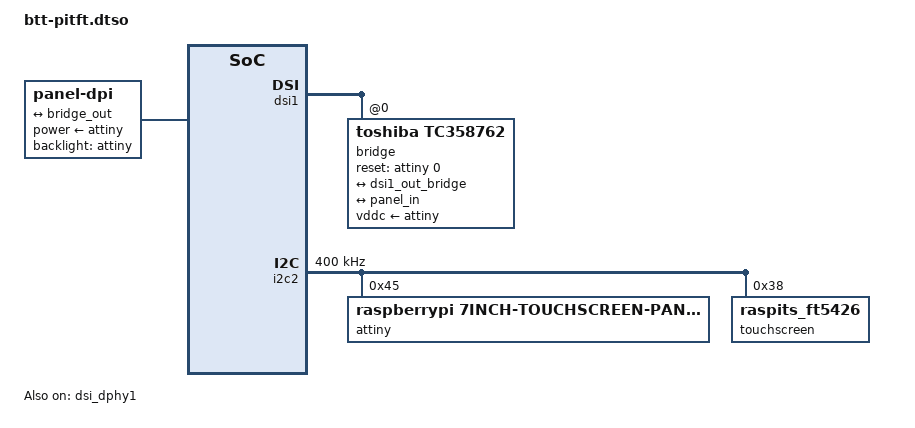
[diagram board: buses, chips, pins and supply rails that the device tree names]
// BTT PiTFT50 on DSI1 of the BigTreeTech Pi 2.
// Chain: VOP2 VP1 -> DSI1 (1 lane, burst) -> TC358762 DSI->DPI bridge -> 800x480 panel.
// The panel MCU at I2C2 0x45 speaks the Raspberry Pi 7" ATtiny protocol: it powers the
// bridge and panel, drives the bridge reset and the backlight. The touch controller at 0x38
// has no interrupt line.
// The bridge driver must run in burst mode (tc358762-burst module), non-burst sync-pulse
// mode shifts the picture horizontally.

/dts-v1/;
/plugin/;

#include <dt-bindings/gpio/gpio.h>
#include <dt-bindings/soc/rockchip,vop2.h>

&{/} {
	panel {
		// Radxa BSP 5-inch timing for the BTT TFT50 (also used by
		// github.com/saltydog101/rock3a_dsi on RK3568).
		compatible = "panel-dpi";
		power-supply = <&attiny>;
		backlight = <&attiny>;
		width-mm = <108>;
		height-mm = <65>;

		panel-timing {
			clock-frequency = <26000000>;
			hactive = <800>;
			vactive = <480>;
			hfront-porch = <86>;
			hsync-len = <18>;
			hback-porch = <20>;
			vfront-porch = <7>;
			vsync-len = <1>;
			vback-porch = <21>;
			hsync-active = <0>;
			vsync-active = <0>;
		};

		port {
			panel_in: endpoint {
				remote-endpoint = <&bridge_out>;
			};
		};
	};
};

&vp1 {
	vp1_out_dsi1: endpoint@ROCKCHIP_VOP2_EP_MIPI1 {
		reg = <ROCKCHIP_VOP2_EP_MIPI1>;
		remote-endpoint = <&dsi1_in_vp1>;
	};
};

&dsi_dphy1 {
	status = "okay";
};

&dsi1 {
	status = "okay";
	#address-cells = <1>;
	#size-cells = <0>;

	bridge@0 {
		compatible = "toshiba,tc358762";
		reg = <0>;
		reset-gpios = <&attiny 0 GPIO_ACTIVE_HIGH>;
		vddc-supply = <&attiny>;

		ports {
			#address-cells = <1>;
			#size-cells = <0>;

			port@0 {
				reg = <0>;

				bridge_in: endpoint {
					remote-endpoint = <&dsi1_out_bridge>;
				};
			};

			port@1 {
				reg = <1>;

				bridge_out: endpoint {
					remote-endpoint = <&panel_in>;
				};
			};
		};
	};
};

&dsi1_in {
	dsi1_in_vp1: endpoint {
		remote-endpoint = <&vp1_out_dsi1>;
	};
};

&dsi1_out {
	dsi1_out_bridge: endpoint {
		remote-endpoint = <&bridge_in>;
	};
};

&i2c2 {
	status = "okay";
	clock-frequency = <400000>;

	attiny: regulator@45 {
		compatible = "raspberrypi,7inch-touchscreen-panel-regulator";
		reg = <0x45>;
		gpio-controller;
		#gpio-cells = <2>;
	};

	touchscreen@38 {
		compatible = "raspits_ft5426";
		reg = <0x38>;
		touchscreen-size-x = <800>;
		touchscreen-size-y = <480>;
	};
};
